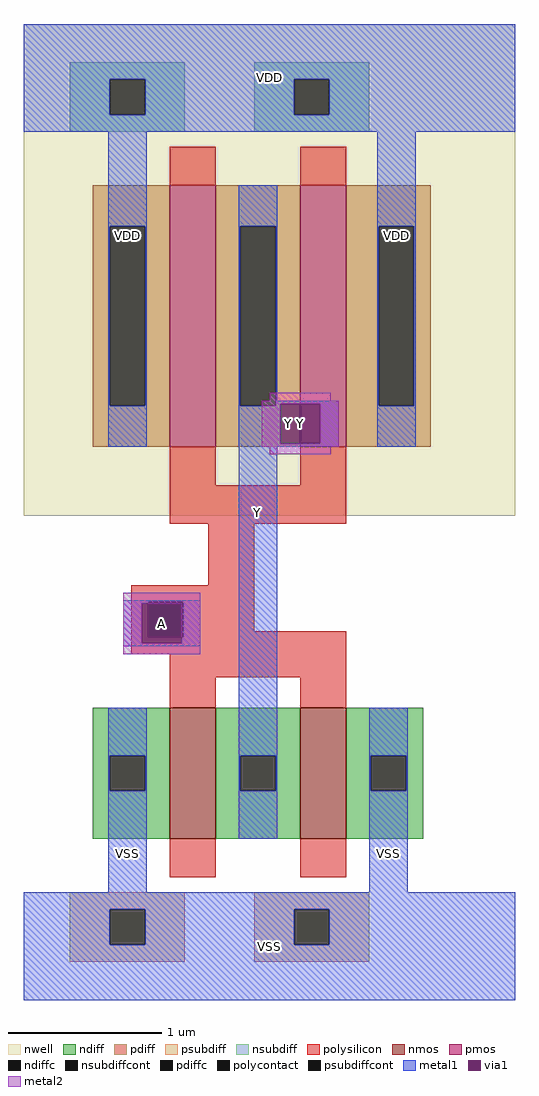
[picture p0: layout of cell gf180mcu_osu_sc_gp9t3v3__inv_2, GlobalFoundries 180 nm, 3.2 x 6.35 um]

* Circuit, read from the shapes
.subckt gf180mcu_osu_sc_gp9t3v3__inv_2 A Y VDD VSS
XM1 Y A VSS VSS nfet_03v3 w=0.85u l=0.3u m=2
XM2 Y A VDD VDD pfet_03v3 w=1.7u l=0.3u m=2
.ends

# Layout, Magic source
magic
tech gf180mcuA
magscale 1 10
<< nwell >>
rect 0 630 640 1270
<< nmos >>
rect 190 210 250 380
rect 360 210 420 380
<< pmos >>
rect 190 720 250 1060
rect 360 720 420 1060
<< ndiff >>
rect 90 318 190 380
rect 90 272 112 318
rect 158 272 190 318
rect 90 210 190 272
rect 250 318 360 380
rect 250 272 282 318
rect 328 272 360 318
rect 250 210 360 272
rect 420 318 520 380
rect 420 272 452 318
rect 498 272 520 318
rect 420 210 520 272
<< pdiff >>
rect 90 1007 190 1060
rect 90 773 112 1007
rect 158 773 190 1007
rect 90 720 190 773
rect 250 1007 360 1060
rect 250 773 282 1007
rect 328 773 360 1007
rect 250 720 360 773
rect 420 1007 530 1060
rect 420 773 462 1007
rect 508 773 530 1007
rect 420 720 530 773
<< ndiffc >>
rect 112 272 158 318
rect 282 272 328 318
rect 452 272 498 318
<< pdiffc >>
rect 112 773 158 1007
rect 282 773 328 1007
rect 462 773 508 1007
<< psubdiff >>
rect 60 118 210 140
rect 60 72 112 118
rect 158 72 210 118
rect 60 50 210 72
rect 300 118 450 140
rect 300 72 352 118
rect 398 72 450 118
rect 300 50 450 72
<< nsubdiff >>
rect 60 1198 210 1220
rect 60 1152 112 1198
rect 158 1152 210 1198
rect 60 1130 210 1152
rect 300 1198 450 1220
rect 300 1152 352 1198
rect 398 1152 450 1198
rect 300 1130 450 1152
<< psubdiffcont >>
rect 112 72 158 118
rect 352 72 398 118
<< nsubdiffcont >>
rect 112 1152 158 1198
rect 352 1152 398 1198
<< polysilicon >>
rect 190 1060 250 1110
rect 360 1060 420 1110
rect 190 670 250 720
rect 360 670 420 720
rect 190 620 420 670
rect 240 540 300 620
rect 140 518 300 540
rect 140 472 162 518
rect 208 480 300 518
rect 208 472 420 480
rect 140 450 420 472
rect 190 420 420 450
rect 190 380 250 420
rect 360 380 420 420
rect 190 160 250 210
rect 360 160 420 210
<< polycontact >>
rect 162 472 208 518
<< metal1 >>
rect 0 1198 640 1270
rect 0 1152 112 1198
rect 158 1152 352 1198
rect 398 1152 640 1198
rect 0 1130 640 1152
rect 110 1007 160 1130
rect 110 773 112 1007
rect 158 773 160 1007
rect 110 720 160 773
rect 280 1007 330 1060
rect 280 773 282 1007
rect 328 780 330 1007
rect 460 1007 510 1130
rect 328 776 410 780
rect 328 773 334 776
rect 280 724 334 773
rect 386 724 410 776
rect 280 720 410 724
rect 460 773 462 1007
rect 508 773 510 1007
rect 460 720 510 773
rect 130 518 230 520
rect 130 516 162 518
rect 130 464 154 516
rect 208 472 230 518
rect 206 464 230 472
rect 130 460 230 464
rect 110 318 160 380
rect 110 272 112 318
rect 158 272 160 318
rect 110 140 160 272
rect 280 318 330 720
rect 280 272 282 318
rect 328 272 330 318
rect 280 210 330 272
rect 450 318 500 380
rect 450 272 452 318
rect 498 272 500 318
rect 450 140 500 272
rect 0 118 640 140
rect 0 72 112 118
rect 158 72 352 118
rect 398 72 640 118
rect 0 0 640 72
<< via1 >>
rect 334 724 386 776
rect 154 472 162 516
rect 162 472 206 516
rect 154 464 206 472
<< metal2 >>
rect 320 780 400 790
rect 310 776 410 780
rect 310 724 334 776
rect 386 724 410 776
rect 310 720 410 724
rect 320 710 400 720
rect 130 516 230 530
rect 130 464 154 516
rect 206 464 230 516
rect 130 450 230 464
<< labels >>
rlabel via1 s 154 464 206 516 4 A
port 1 nsew signal input
rlabel via1 s 334 724 386 776 4 Y
port 2 nsew signal output
rlabel metal1 s 110 720 160 1270 4 VDD
port 3 nsew power bidirectional abutment
rlabel metal1 s 110 0 160 380 4 VSS
port 4 nsew ground bidirectional abutment
rlabel metal1 s 460 720 510 1270 1 VDD
port 3 nsew power bidirectional abutment
rlabel metal1 s 0 1130 640 1270 1 VDD
port 3 nsew power bidirectional abutment
rlabel metal1 s 450 0 500 380 1 VSS
port 4 nsew ground bidirectional abutment
rlabel metal1 s 0 0 640 140 1 VSS
port 4 nsew ground bidirectional abutment
rlabel metal2 s 130 450 230 530 1 A
port 1 nsew signal input
rlabel metal1 s 130 460 230 520 1 A
port 1 nsew signal input
rlabel metal2 s 320 710 400 790 1 Y
port 2 nsew signal output
rlabel metal2 s 310 720 410 780 1 Y
port 2 nsew signal output
rlabel metal1 s 280 210 330 1060 1 Y
port 2 nsew signal output
rlabel metal1 s 280 720 410 780 1 Y
port 2 nsew signal output
<< properties >>
string FIXED_BBOX 0 0 640 1270
string GDS_END 290760
string GDS_FILE $PDKPATH/libs.ref/gf180mcu_osu_sc_gp9t3v3/gds/gf180mcu_osu_sc_gp9t3v3.gds
string GDS_START 286824
string LEFclass CORE
string LEFsite gf180mcu_osu_sc_gp9t3v3
string LEFsymmetry X Y
<< end >>
